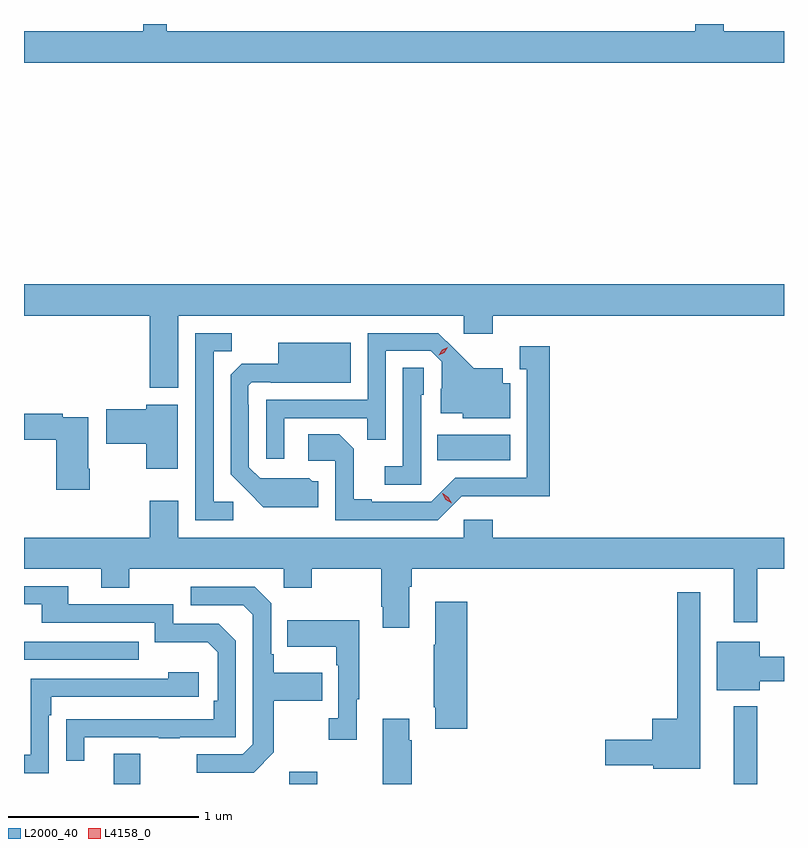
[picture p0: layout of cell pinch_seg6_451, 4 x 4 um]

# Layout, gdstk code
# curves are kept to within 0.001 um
import gdstk
lib = gdstk.Library(unit=1e-6, precision=1e-09)
def R(c, l, rs):  # rectangles x0, y0, x1, y1
    for r in rs: c.add(gdstk.rectangle(r[:2], r[2:], *l))
def P(c, l, *ps):  # polygons
    for p in ps: c.add(gdstk.Polygon(p, *l))
L2000_40 = (2000, 40)
L4158_0 = (4158, 0)

pinch_seg6_451 = lib.new_cell('pinch_seg6_451')
R(pinch_seg6_451, L2000_40, [(712.421,930.219,712.561,930.379), (713.345,930.219,713.493,930.283), (715.685,930.219,715.807,930.628), (711.949,930.873,712.553,930.969), (714.124,931.922,714.508,932.056)])
P(pinch_seg6_451, L2000_40, [(715.949,934.18),(715.633,934.18),(715.633,934.219),(715.481,934.219),(715.481,934.18),(712.699,934.18),(712.699,934.219),(712.577,934.219),(712.577,934.18),(711.949,934.18),(711.949,934.016),(715.949,934.016)],
  [(712.762,932.684),(714.264,932.684),(714.264,932.589),(714.416,932.589),(714.416,932.684),(715.949,932.684),(715.949,932.848),(711.949,932.848),(711.949,932.684),(712.61,932.684),(712.61,932.304),(712.762,932.304)],
  [(713.319,932.145),(713.755,932.145),(713.755,932.032),(713.853,932.032),(713.853,932.499),(714.09,932.499),(714.147,932.442),(714.147,932.3),(714.143,932.3),(714.143,932.171),(714.258,932.171),(714.258,932.144),(714.508,932.144),(714.508,932.329),(714.469,932.329),(714.469,932.407),(714.317,932.407),(714.13,932.592),(713.757,932.592),(713.757,932.241),(713.223,932.241),(713.223,931.932),(713.319,931.932)],
  [(713.05,931.704),(712.947,931.704),(712.947,932.497),(713.043,932.497),(713.043,932.592),(712.851,932.592),(712.851,931.608),(713.05,931.608)],
  [(713.497,931.812),(713.466,931.812),(713.45,931.828),(713.193,931.827),(713.133,931.887),(713.133,932.216),(713.13,932.216),(713.13,932.316),(713.148,932.334),(713.248,932.334),(713.248,932.33),(713.668,932.33),(713.668,932.542),(713.288,932.542),(713.288,932.431),(713.096,932.431),(713.037,932.372),(713.037,931.85),(713.209,931.676),(713.497,931.676)],
  [(714.252,931.734),(714.715,931.733),(714.715,932.524),(714.557,932.524),(714.557,932.403),(714.596,932.403),(714.596,931.83),(714.219,931.83),(714.093,931.704),(713.779,931.704),(713.779,931.717),(713.685,931.717),(713.685,931.984),(713.609,932.06),(713.445,932.06),(713.445,931.92),(713.586,931.92),(713.586,931.608),(714.126,931.608)],
  [(714.039,932.268),(714.054,932.268),(714.054,932.411),(713.943,932.411),(713.943,931.891),(713.847,931.891),(713.847,931.794),(714.039,931.794)],
  [(712.759,932.215),(712.592,932.215),(712.592,932.192),(712.383,932.192),(712.383,932.009),(712.592,932.009),(712.592,931.878),(712.759,931.878)],
  [(712.296,931.879),(712.288,931.879),(712.288,932.148),(712.154,932.148),(712.154,932.168),(711.949,932.168),(711.949,932.032),(712.118,932.032),(712.118,931.767),(712.296,931.767)],
  [(713.316,931.253),(713.463,931.253),(713.463,931.352),(713.83,931.352),(713.83,931.153),(713.837,931.153),(713.837,931.041),(713.977,931.041),(713.977,931.256),(713.99,931.256),(713.99,931.352),(715.685,931.352),(715.685,931.071),(715.807,931.071),(715.807,931.352),(715.949,931.352),(715.949,931.516),(714.416,931.516),(714.416,931.609),(714.264,931.609),(714.264,931.516),(712.762,931.516),(712.762,931.711),(712.61,931.711),(712.61,931.516),(711.949,931.516),(711.949,931.352),(712.355,931.352),(712.355,931.253),(712.503,931.253),(712.503,931.352),(713.316,931.352)],
  [(712.267,930.465),(712.657,930.465),(712.657,930.46),(712.769,930.46),(712.769,930.465),(713.064,930.465),(713.064,930.972),(712.974,931.062),(712.734,931.062),(712.734,931.164),(712.183,931.164),(712.183,931.26),(711.949,931.26),(711.949,931.164),(712.043,931.164),(712.043,931.068),(712.638,931.068),(712.638,930.965),(712.915,930.965),(712.968,930.912),(712.968,930.658),(712.948,930.658),(712.948,930.561),(712.171,930.56),(712.171,930.342),(712.267,930.342)],
  [(713.263,930.385),(713.263,930.658),(713.519,930.658),(713.519,930.805),(713.263,930.805),(713.263,930.901),(713.25,930.901),(713.25,931.17),(713.163,931.257),(712.827,931.257),(712.827,931.161),(713.103,931.161),(713.154,931.11),(713.154,930.429),(713.1,930.375),(712.857,930.375),(712.857,930.279),(713.157,930.279)],
  [(715.507,931.228),(715.386,931.228),(715.386,930.562),(715.256,930.562),(715.256,930.452),(715.008,930.452),(715.008,930.317),(715.26,930.317),(715.26,930.299),(715.507,930.299)],
  [(714.281,931.177),(714.113,931.177),(714.113,930.953),(714.106,930.953),(714.106,930.622),(714.113,930.622),(714.113,930.51),(714.281,930.51)],
  [(713.701,930.665),(713.713,930.665),(713.713,931.081),(713.335,931.081),(713.335,930.941),(713.592,930.941),(713.592,930.845),(713.604,930.845),(713.604,930.566),(713.553,930.566),(713.553,930.453),(713.701,930.453)],
  [(715.822,930.76),(715.949,930.76),(715.949,930.889),(715.822,930.889),(715.822,930.967),(715.595,930.967),(715.595,930.713),(715.822,930.713)],
  [(712.08,930.581),(712.093,930.581),(712.093,930.678),(712.87,930.678),(712.87,930.808),(712.709,930.808),(712.709,930.774),(711.984,930.774),(711.984,930.372),(711.949,930.372),(711.949,930.276),(712.08,930.276)],
  [(713.99,930.449),(713.977,930.449),(713.977,930.562),(713.837,930.562),(713.837,930.219),(713.99,930.219)])
P(pinch_seg6_451, L4158_0, [(714.131,932.475),(714.131,932.475),(714.149,932.504),(714.18,932.518),(714.18,932.518),(714.18,932.518),(714.162,932.489),(714.131,932.475)],
  [(714.2,931.696),(714.169,931.716),(714.151,931.749),(714.151,931.749),(714.152,931.749),(714.183,931.729),(714.201,931.697),(714.201,931.696)])

lib.write_gds('pinch_seg6_451.gds')
